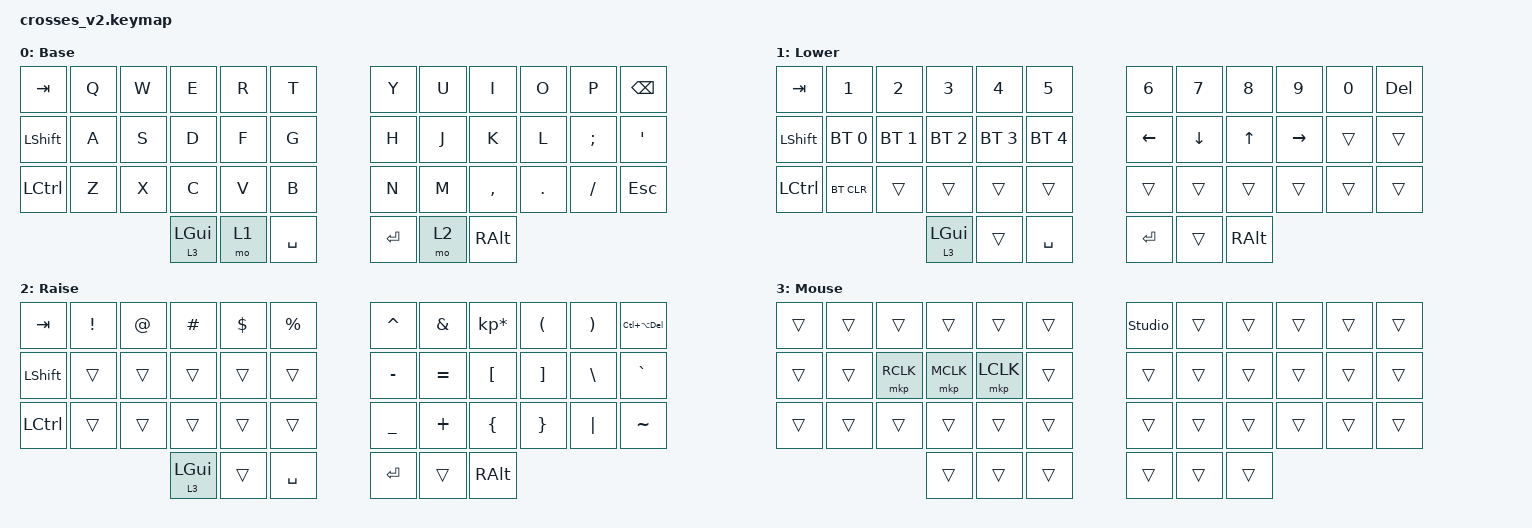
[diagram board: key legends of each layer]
#include <behaviors.dtsi>
#include <dt-bindings/zmk/bt.h>
#include <dt-bindings/zmk/keys.h>
#include <dt-bindings/zmk/pointing.h>

/ {
    chosen { zmk,physical-layout = &gggw_crosses_42_layout; };

    keymap {
        compatible = "zmk,keymap";

        default_layer {
            display-name = "Base";
            bindings = <
&kp TAB         &kp Q  &kp W  &kp E       &kp R  &kp T      &kp Y    &kp U  &kp I      &kp O    &kp P     &kp BSPC
&kp LEFT_SHIFT  &kp A  &kp S  &kp D       &kp F  &kp G      &kp H    &kp J  &kp K      &kp L    &kp SEMI  &kp SQT
&kp LCTRL       &kp Z  &kp X  &kp C       &kp V  &kp B      &kp N    &kp M  &kp COMMA  &kp DOT  &kp FSLH  &kp ESC
                              &lt 3 LGUI  &mo 1  &kp SPACE  &kp RET  &mo 2  &kp RALT
            >;
        };

        lower_layer {
            display-name = "Lower";
            bindings = <
&kp TAB           &kp N1        &kp N2        &kp N3        &kp N4        &kp N5        &kp N6    &kp N7    &kp N8    &kp N9     &kp N0  &kp DELETE
&kp LEFT_SHIFT    &bt BT_SEL 0  &bt BT_SEL 1  &bt BT_SEL 2  &bt BT_SEL 3  &bt BT_SEL 4  &kp LEFT  &kp DOWN  &kp UP    &kp RIGHT  &trans  &trans
&kp LEFT_CONTROL  &bt BT_CLR    &trans        &trans        &trans        &trans        &trans    &trans    &trans    &trans     &trans  &trans
                                              &lt 3 LGUI    &trans        &kp SPACE     &kp RET   &trans    &kp RALT
            >;
        };

        raise_layer {
            display-name = "Raise";
            bindings = <
&kp TAB    &kp EXCL  &kp AT  &kp HASH    &kp DLLR  &kp PRCNT  &kp CARET  &kp AMPS   &kp KP_MULTIPLY  &kp LPAR  &kp RPAR  &kp LC(LA(DELETE))
&kp LSHFT  &trans    &trans  &trans      &trans    &trans     &kp MINUS  &kp EQUAL  &kp LBKT         &kp RBKT  &kp BSLH  &kp GRAVE
&kp LCTRL  &trans    &trans  &trans      &trans    &trans     &kp UNDER  &kp PLUS   &kp LBRC         &kp RBRC  &kp PIPE  &kp TILDE
                             &lt 3 LGUI  &trans    &kp SPACE  &kp RET    &trans     &kp RALT
            >;
        };

        mouse_layer {
            display-name = "Mouse";
            bindings = <
&trans  &trans  &trans     &trans     &trans     &trans  &studio_unlock  &trans  &trans  &trans  &trans  &trans
&trans  &trans  &mkp RCLK  &mkp MCLK  &mkp LCLK  &trans  &trans          &trans  &trans  &trans  &trans  &trans
&trans  &trans  &trans     &trans     &trans     &trans  &trans          &trans  &trans  &trans  &trans  &trans
                           &trans     &trans     &trans  &trans          &trans  &trans
            >;
        };
    };
};
